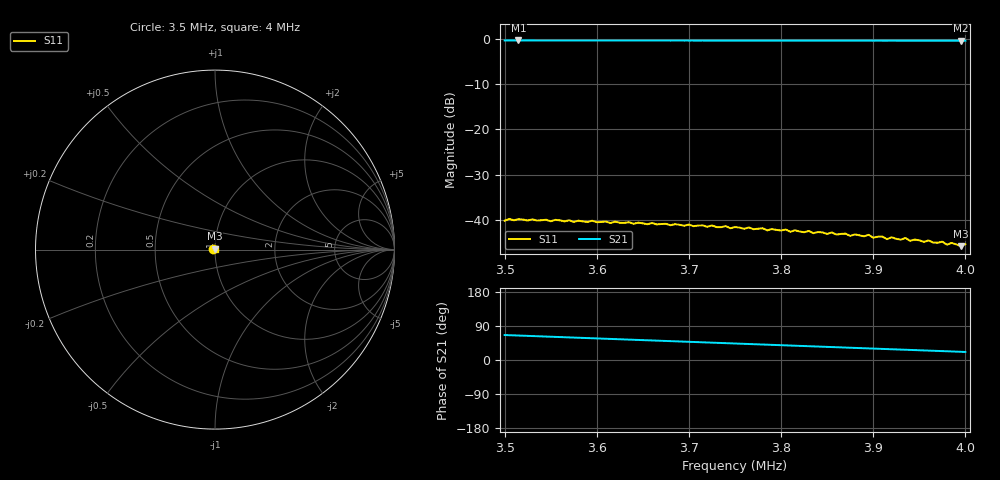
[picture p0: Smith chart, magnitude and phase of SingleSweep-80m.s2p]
# HZ S RI R 50
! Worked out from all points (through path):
!   101 points, 3.5 MHz to 4 MHz, reference 50 ohm
!   highest |S21| = -0.41 dB at 3.515 MHz (marker M1); lowest = -0.5 dB at 3.995 MHz (marker M2)
!   group delay of S21, straight-line fit = 248 ns
!   lowest |S11| = -45.8 dB at 3.995 MHz (marker M3), VSWR 1.01, Z = 49.7 + j0.439 ohm
!   |S11| at or under -10 dB: start of sweep to end of sweep
!   S12 and S22 are empty: the file has one direction only
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3500000  -0.00851 0.00481  0.3897 0.8702  0 0  0 0
3515000  -0.00929 0.00414  0.4095 0.8611  0 0  0 0
3585000  -0.00821 0.00501  0.5006 0.8103  0 0  0 0
3670000  -0.00735 0.00519  0.6026 0.736  0 0  0 0
3750000  -0.0062 0.00557  0.6887 0.6544  0 0  0 0
3805000  -0.00529 0.00577  0.7414 0.5923  0 0  0 0
3810000  -0.00498 0.00544  0.746 0.5867  0 0  0 0
3830000  -0.0049 0.00574  0.7638 0.5629  0 0  0 0
3835000  -0.00456 0.00548  0.768 0.5569  0 0  0 0
3895000  -0.00401 0.00554  0.8159 0.4823  0 0  0 0
3900000  -0.00364 0.00521  0.8194 0.4759  0 0  0 0
3910000  -0.00359 0.00545  0.8267 0.463  0 0  0 0
3915000  -0.00348 0.00503  0.8302 0.4567  0 0  0 0
3920000  -0.00371 0.00525  0.8341 0.4503  0 0  0 0
3930000  -0.00346 0.00497  0.8406 0.4372  0 0  0 0
3935000  -0.00338 0.00533  0.844 0.4305  0 0  0 0
3940000  -0.00312 0.00496  0.8471 0.424  0 0  0 0
3975000  -0.00279 0.00503  0.8686 0.377  0 0  0 0
3980000  -0.0027 0.00459  0.8712 0.3702  0 0  0 0
3985000  -0.00289 0.00475  0.8742 0.3634  0 0  0 0
3995000  -0.0026 0.00442  0.8795 0.3497  0 0  0 0
4000000  -0.00266 0.00467  0.8823 0.3428  0 0  0 0
